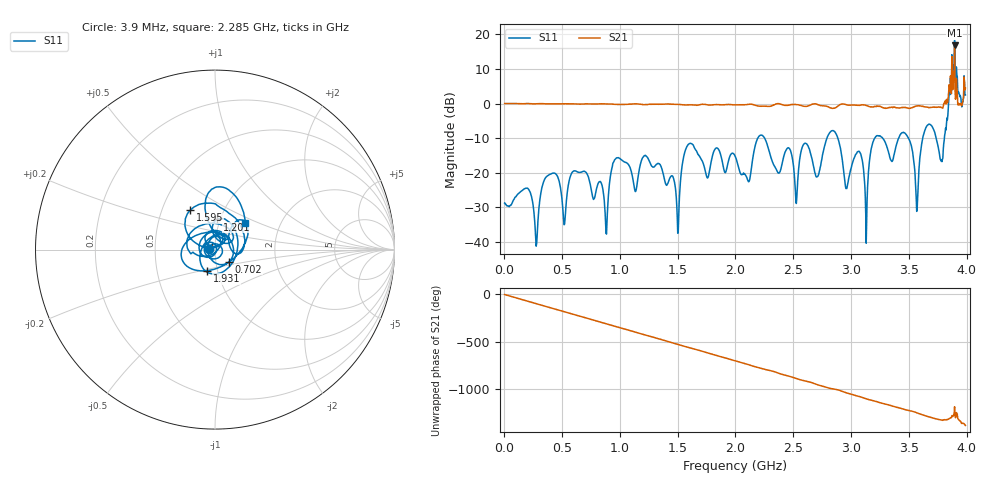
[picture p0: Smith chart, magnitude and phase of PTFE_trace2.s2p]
# HZ S RI R 50
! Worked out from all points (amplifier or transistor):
!   1023 points, 3.9 MHz to 3.99 GHz, reference 50 ohm
!   highest |S21| = 16.9 dB at 3.896 GHz (marker M1)
!   |S21| within 3 dB of that: 3.894768 GHz to 3.897006 GHz (2.238 MHz wide, 0.0574 % of centre)
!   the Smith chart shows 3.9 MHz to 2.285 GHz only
!   S11 on the Smith chart (normalised r, x): 3.9 MHz: 0.93, +0.01; 702 MHz: 1.16, -0.16; 1.201 GHz: 0.97, +0.33; 1.595 GHz: 0.70, +0.33; 1.931 GHz: 0.89, -0.21; 2.285 GHz: 1.33, +0.41
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3900000  -0.0361 0.00605  1.002 -0.0255  0 0  0 0
2.964e8  -0.00132 -0.0251  -0.2417 -0.9703  0 0  0 0
6.708e8  0.103 0.00447  -0.5586 0.8098  0 0  0 0
7.02e8  0.0789 -0.0667  -0.4026 0.9082  0 0  0 0
8.814e8  0.0126 -0.00444  0.6315 0.7624  0 0  0 0
9.711e8  -0.1562 0.0486  0.9235 0.3117  0 0  0 0
1.2012e9  0.0116 0.1679  0.4575 -0.8533  0 0  0 0
1.3338e9  -0.0128 -0.136  -0.2963 -0.9313  0 0  0 0
1.5015e9  0.00351 0.0129  -0.9537 -0.2088  0 0  0 0
1.5951e9  -0.137 0.2194  -0.8995 0.3254  0 0  0 0
1.9305e9  -0.045 -0.1183  0.7063 0.6674  0 0  0 0
1.9968e9  -0.1739 0.0223  0.9041 0.323  0 0  0 0
2.2854e9  0.1695 0.1473  0.1506 -0.9  0 0  0 0
2.6637e9  -0.0735 0.1387  -0.8331 0.5315  0 0  0 0
3.0381e9  0.0664 -0.1687  0.9271 0.2158  0 0  0 0
3.3267e9  -0.0472 0.1868  0.0609 -0.8704  0 0  0 0
3.5802e9  -0.0367 -0.0529  -0.9204 -0.1013  0 0  0 0
3.6543e9  -0.3983 -0.2495  -0.8078 0.3784  0 0  0 0
3.8064e9  -0.1719 0.2396  -0.4544 0.9118  0 0  0 0
3.8649e9  -1.278 0.9895  -1.18 1.043  0 0  0 0
3.8961e9  -3.773 -7.272  -1.858 -6.736  0 0  0 0
3.9897e9  -0.2843 1.302  0.912 1.403  0 0  0 0
